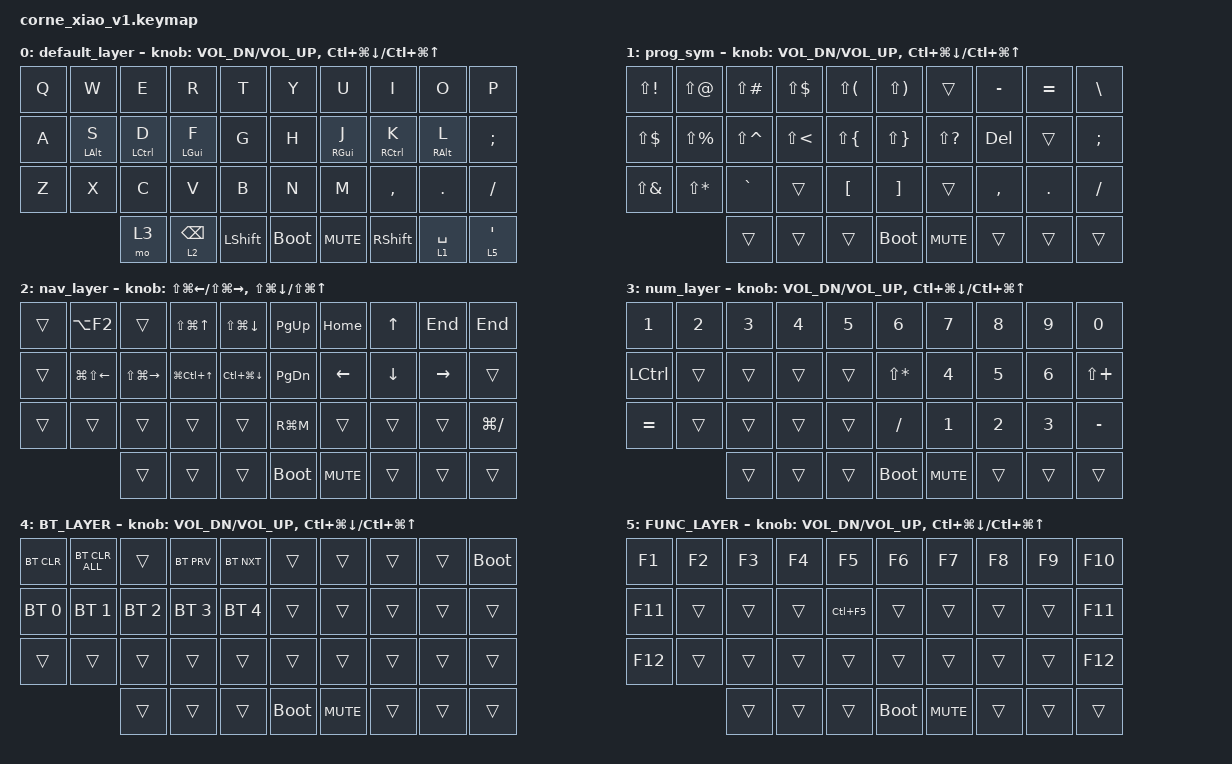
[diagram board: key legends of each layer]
#include <behaviors/rgbled_widget.dtsi>
#include <behaviors.dtsi>
#include <dt-bindings/zmk/bt.h>
#include <dt-bindings/zmk/keys.h>

#include <dt-bindings/zmk/outputs.h>

/ {
    //    combos {
    //        compatible = "zmk,combos";
    //
    //        bluetooth {
    //            bindings = <&mo 3>;
    //            key-positions = <41 36>;
    //        };
    //
    //        bt2 {
    //            bindings = <&mo 3>;
    //            key-positions = <48 53>;
    //        };
    //    };
    //
    //    behaviors {
    //        hml: hml {
    //            compatible = "zmk,behavior-hold-tap";
    //            label = "HOME_ROW_LEFT";
    //            bindings = <&kp>, <&kp>;
    //
    //            #binding-cells = <2>;
    //            hold-trigger-key-positions = <6 7 8 9 10 11 18 19 20 21 22 23 30 31 32 33 34 35 42 43 44 45 46 47>;
    //            tapping-term-ms = <180>;
    //            quick-tap-ms = <175>;
    //            require-prior-idle-ms = <150>;
    //            flavor = "balanced";
    //            hold-trigger-on-release;
    //        };
    //
    //        hmr: hmr {
    //            compatible = "zmk,behavior-hold-tap";
    //            label = "HOME_ROW_RIGHT";
    //            bindings = <&kp>, <&kp>;
    //
    //            #binding-cells = <2>;
    //            tapping-term-ms = <180>;
    //            quick-tap-ms = <175>;
    //            require-prior-idle-ms = <150>;
    //            flavor = "balanced";
    //            hold-trigger-key-positions = <0 1 2 3 4 5 12 13 14 15 16 17 24 25 26 27 28 29 36 37 38 39 40 41>;
    //            hold-trigger-on-release;
    //        };
    //    };
    //

    combos {
        compatible = "zmk,combos";

        enter_combo {
            bindings = <&kp ENTER>;
            key-positions = <16 17 18>;
            require-prior-idle-ms = <50>;
        };

        tab_combo {
            bindings = <&kp TAB>;
            key-positions = <11 12 13>;
            require-prior-idle-ms = <50>;
        };

        esc_combo {
            bindings = <&kp ESCAPE>;
            key-positions = <1 2>;
            require-prior-idle-ms = <50>;
        };

        print_scr {
            bindings = <&kp PRINTSCREEN>;
            key-positions = <5 6>;
        };
    };

    behaviors {
        modtap_behave: modtap_behave {
            compatible = "zmk,behavior-hold-tap";
            label = "MODTAP_BEHAVE";
            bindings = <&kp>, <&kp>;

            #binding-cells = <2>;
            quick-tap-ms = <180>;
            require-prior-idle-ms = <100>;
            flavor = "tap-preferred";
            tapping-term-ms = <175>;
        };
    };

    keymap {
        compatible = "zmk,keymap";

        default_layer {
            // -----------------------------------------------------------------------------------------
            //  |  Q  |  W  |  E  |  R  |  T  |   |  Y  |  U   |  I  |  O  |  P  |
            //  |  A  |  S  |  D  |  F  |  G  |   |  H  |  J   |  K  |  L  |  ;  |
            //  |  Z  |  X  |  C  |  V  |  B  |   |  N  |  M   |  ,  |  .  |  /  |
            //              | GUI | LWR | SPC |   | ENT | RSE  | ALT |

            bindings = <
&kp Q  &kp W                      &kp E                   &kp R                  &kp T                          &kp Y            &kp U                  &kp I                   &kp O                       &kp P
&kp A  &modtap_behave LEFT_ALT S  &modtap_behave LCTRL D  &modtap_behave LGUI F  &kp G                          &kp H            &modtap_behave RGUI J  &modtap_behave RCTRL K  &modtap_behave RIGHT_ALT L  &kp SEMI
&kp Z  &kp X                      &kp C                   &kp V                  &kp B                          &kp N            &kp M                  &kp COMMA               &kp DOT                     &kp FSLH
                                  &mo 3                  &lt 2 BACKSPACE        &kp LEFT_SHIFT &bootloader     &kp K_MUTE  &kp RIGHT_SHIFT  &lt 1 SPACE            &lt 5 SQT >;
                    sensor-bindings = <&inc_dec_kp C_VOL_DN C_VOL_UP &inc_dec_kp LC(LG(DOWN_ARROW)) LC(LG(UP_ARROW))>;
        };

        prog_sym {
            bindings = <
&kp LS(EXCL)  &kp LS(AT)     &kp LS(POUND)  &kp LS(DLLR)  &kp LS(LPAR)  &kp LS(RPAR)  &trans         &kp MINUS  &kp EQUAL  &kp BSLH
&kp LS(DLLR)  &kp LS(PRCNT)  &kp LS(CARET)  &kp LS(LT)    &kp LS(LBRC)  &kp LS(RBRC)  &kp LS(QMARK)  &kp DEL    &trans     &kp SEMI
&kp LS(AMPS)  &kp LS(STAR)   &kp GRAVE      &trans        &kp LBKT      &kp RBKT      &trans         &kp COMMA  &kp DOT    &kp FSLH
                             &trans         &trans        &trans &bootloader &kp      K_MUTE        &trans        &trans         &trans >;
                    sensor-bindings = <&inc_dec_kp C_VOL_DN C_VOL_UP &inc_dec_kp LC(LG(DOWN_ARROW)) LC(LG(UP_ARROW))>;
        };

        nav_layer {
            bindings = <
&trans  &kp LA(F2)        &trans             &kp LS(LG(UP_ARROW))  &kp LS(LG(DOWN))  &kp PG_UP  &kp HOME  &kp UP    &kp END    &kp END
&trans  &kp LG(LS(LEFT))  &kp LS(LG(RIGHT))  &kp LG(LC(UP))        &kp LC(LG(DOWN))  &kp PG_DN  &kp LEFT  &kp DOWN  &kp RIGHT  &trans
&trans  &trans            &trans             &trans                &trans            &kp RG(M)  &trans    &trans    &trans     &kp LG(SLASH)
                          &trans             &trans                &trans  &bootloader    &kp K_MUTE        &trans     &trans    &trans >;
                    sensor-bindings = <&inc_dec_kp LS(LG(LEFT)) LS(LG(RIGHT)) &inc_dec_kp LS(LG(DOWN_ARROW)) LS(LG(UP_ARROW))>;
        };

        num_layer {
            // -----------------------------------------------------------------------------------------
            //  |  TAB  |  2  |  3  |  4  |  5  |   |  9  |  8  |  7  |  0  | BKSP |
            //  | CTRL  |     |     |     | BT1 |   |  6  |  5  |  4  |     |      |
            //  | SHFT  | BT2 | BT3 | BT4 | BT5 |   |  3  |  2  |  1  |     |      |
            //                |BTCLR|     | SPC |   | ENT |     | ALT |

            bindings = <
&kp N1     &kp N2  &kp N3  &kp N4  &kp N5  &kp N6        &kp N7  &kp N8  &kp N9  &kp N0
&kp LCTRL  &trans  &trans  &trans  &trans  &kp LS(STAR)  &kp N4  &kp N5  &kp N6  &kp LS(PLUS)
&kp EQUAL  &trans  &trans  &trans  &trans  &kp FSLH      &kp N1  &kp N2  &kp N3  &kp MINUS
                   &trans  &trans  &trans &bootloader &kp K_MUTE &trans  &trans  &trans >;
                    sensor-bindings = <&inc_dec_kp C_VOL_DN C_VOL_UP &inc_dec_kp LC(LG(DOWN_ARROW)) LC(LG(UP_ARROW))>;
        };

        BT_LAYER {
            bindings = <
&bt BT_CLR    &bt BT_CLR_ALL  &trans        &bt BT_PRV    &bt BT_NXT    &trans  &trans  &trans  &trans  &bootloader
&bt BT_SEL 0  &bt BT_SEL 1    &bt BT_SEL 2  &bt BT_SEL 3  &bt BT_SEL 4  &trans  &trans  &trans  &trans  &trans
&trans        &trans          &trans        &trans        &trans        &trans  &trans  &trans  &trans  &trans
                              &trans        &trans        &trans &bootloader     &kp K_MUTE &trans  &trans  &trans >;
                    sensor-bindings = <&inc_dec_kp C_VOL_DN C_VOL_UP &inc_dec_kp LC(LG(DOWN_ARROW)) LC(LG(UP_ARROW))>;
        };

        FUNC_LAYER {
            bindings = <
&kp F1   &kp F2  &kp F3  &kp F4  &kp F5      &kp F6  &kp F7  &kp F8  &kp F9  &kp F10
&kp F11  &trans  &trans  &trans  &kp LC(F5)  &trans  &trans  &trans  &trans  &kp F11
&kp F12  &trans  &trans  &trans  &trans      &trans  &trans  &trans  &trans  &kp F12
                 &trans  &trans  &trans &bootloader  &kp K_MUTE &trans  &trans  &trans >;
                    sensor-bindings = <&inc_dec_kp C_VOL_DN C_VOL_UP &inc_dec_kp LC(LG(DOWN_ARROW)) LC(LG(UP_ARROW))>;
        };
    };

    conditional_layers {
        compatible = "zmk,conditional-layers";

        BT_LYR_COMBO {
            if-layers = <1 2>;
            then-layer = <4>;
        };
    };
};
